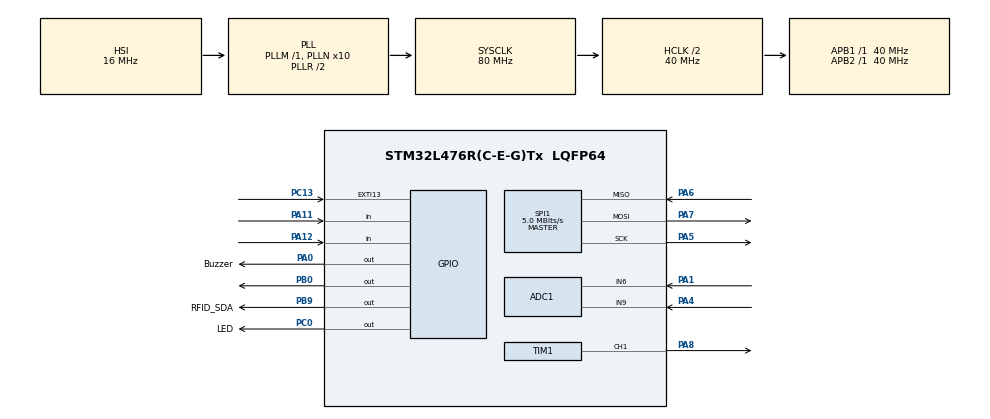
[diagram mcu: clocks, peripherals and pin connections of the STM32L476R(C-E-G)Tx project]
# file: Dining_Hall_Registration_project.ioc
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ADC1.Channel-0\#ChannelRegularConversion=ADC_CHANNEL_6
ADC1.Channel-1\#ChannelRegularConversion=ADC_CHANNEL_9
ADC1.NbrOfConversion=2
ADC1.NbrOfConversionFlag=1
ADC1.OffsetNumber-0\#ChannelRegularConversion=ADC_OFFSET_NONE
ADC1.OffsetNumber-1\#ChannelRegularConversion=ADC_OFFSET_NONE
ADC1.Rank-0\#ChannelRegularConversion=1
ADC1.Rank-1\#ChannelRegularConversion=2
ADC1.SamplingTime-0\#ChannelRegularConversion=ADC_SAMPLETIME_47CYCLES_5
ADC1.SamplingTime-1\#ChannelRegularConversion=ADC_SAMPLETIME_47CYCLES_5
ADC1.master=1
Dma.ADC1.0.Direction=DMA_PERIPH_TO_MEMORY
Dma.ADC1.0.Instance=DMA1_Channel1
Dma.ADC1.0.MemDataAlignment=DMA_MDATAALIGN_WORD
Dma.ADC1.0.MemInc=DMA_MINC_ENABLE
Dma.ADC1.0.Mode=DMA_CIRCULAR
Dma.ADC1.0.PeriphDataAlignment=DMA_PDATAALIGN_WORD
Dma.ADC1.0.PeriphInc=DMA_PINC_DISABLE
Dma.ADC1.0.Priority=DMA_PRIORITY_MEDIUM
Dma.Request0=ADC1
Mcu.Family=STM32L4
Mcu.Name=STM32L476R(C-E-G)Tx
Mcu.Package=LQFP64
NVIC.DMA1_Channel1_IRQn=true\:0\:0\:false\:false\:true\:false\:true\:true
NVIC.EXTI15_10_IRQn=true\:0\:0\:false\:false\:true\:true\:true\:true
NVIC.PriorityGroup=NVIC_PRIORITYGROUP_4
PA0.GPIO_Label=Buzzer
PA0.Signal=GPIO_Output
PA1.Signal=ADCx_IN6
PA11.Signal=GPIO_Input
PA12.Signal=GPIO_Input
PA13\ (JTMS-SWDIO).Mode=Serial_Wire
PA13\ (JTMS-SWDIO).Signal=SYS_JTMS-SWDIO
PA14\ (JTCK-SWCLK).Mode=Serial_Wire
PA14\ (JTCK-SWCLK).Signal=SYS_JTCK-SWCLK
PA4.Signal=ADCx_IN9
PA5.Mode=Full_Duplex_Master
PA5.Signal=SPI1_SCK
PA6.Mode=Full_Duplex_Master
PA6.Signal=SPI1_MISO
PA7.Mode=Full_Duplex_Master
PA7.Signal=SPI1_MOSI
PA8.Signal=S_TIM1_CH1
PB0.Signal=GPIO_Output
PB9.GPIO_Label=RFID_SDA
PB9.Signal=GPIO_Output
PC0.GPIO_Label=LED
PC0.Signal=GPIO_Output
PC13.GPIO_ModeDefaultEXTI=GPIO_MODE_IT_FALLING
PC13.Signal=GPXTI13
PH0-OSC_IN\ (PH0).Mode=HSE-External-Oscillator
PH0-OSC_IN\ (PH0).Signal=RCC_OSC_IN
PH1-OSC_OUT\ (PH1).Mode=HSE-External-Oscillator
PH1-OSC_OUT\ (PH1).Signal=RCC_OSC_OUT
ProjectManager.HeapSize=0x200
ProjectManager.StackSize=0x400
ProjectManager.TargetToolchain=STM32CubeIDE
RCC.ADCFreq_Value=64000000
RCC.AHBCLKDivider=RCC_SYSCLK_DIV2
RCC.AHBFreq_Value=40000000
RCC.APB1Freq_Value=40000000
RCC.APB1TimFreq_Value=40000000
RCC.APB2Freq_Value=40000000
RCC.APB2TimFreq_Value=40000000
RCC.CortexFreq_Value=40000000
RCC.HCLKFreq_Value=40000000
RCC.HSE_VALUE=8000000
RCC.HSI_VALUE=16000000
RCC.LSE_VALUE=32768
RCC.MSI_VALUE=4000000
RCC.PLLN=10
RCC.PLLSourceVirtual=RCC_PLLSOURCE_HSI
RCC.PREFETCH_ENABLE=1
RCC.SYSCLKFreq_VALUE=80000000
RCC.SYSCLKSource=RCC_SYSCLKSOURCE_PLLCLK
RCC.USBFreq_Value=64000000
RCC.VCOOutputFreq_Value=160000000
SH.ADCx_IN6.0=ADC1_IN6,IN6-Single-Ended
SH.ADCx_IN9.0=ADC1_IN9,IN9-Single-Ended
SH.S_TIM1_CH1.0=TIM1_CH1,PWM Generation1 CH1
SPI1.BaudRatePrescaler=SPI_BAUDRATEPRESCALER_8
SPI1.CalculateBaudRate=5.0 MBits/s
SPI1.Direction=SPI_DIRECTION_2LINES
SPI1.Mode=SPI_MODE_MASTER
SPI1.VirtualType=VM_MASTER
TIM1.Channel-PWM\ Generation1\ CH1=TIM_CHANNEL_1
TIM1.Period=999
TIM1.Prescaler=400
VP_TIM1_VS_ClockSourceINT.Mode=Internal
board=NUCLEO-L476RG

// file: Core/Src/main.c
/* USER CODE BEGIN Header */
/**
  ******************************************************************************
  * @file           : main.c
  * @brief          : Main program body
  ******************************************************************************
  * @attention
  *
  * Copyright (c) 2023 STMicroelectronics.
  * All rights reserved.
  *
  * This software is licensed under terms that can be found in the LICENSE file
  * in the root directory of this software component.
  * If no LICENSE file comes with this software, it is provided AS-IS.
  *
  ******************************************************************************
  */
/* USER CODE END Header */
#include "main.h"
#include "stdio.h"
#include "stm32f1_rc522.h"
#include "string.h"

ADC_HandleTypeDef hadc1;
DMA_HandleTypeDef hdma_adc1;
SPI_HandleTypeDef hspi1;
TIM_HandleTypeDef htim1;

/* USER CODE BEGIN PV */
// RFID Variables
uint8_t status;
uint8_t str[16];
uint8_t serNum[5];
uint8_t  KEY[] = {0xFF,0xFF,0xFF,0xFF,0xFF,0xFF};
uint8_t  KEY2[]={1,2,3,4,5,6};
uint8_t test;
uint8_t W[]="zagros-elec";
uint8_t R[16];

// Potentiometer Variables
uint32_t data[2];
uint32_t adcbuffer[2];

// Interrupt variable
uint8_t mode = 0;

/* USER CODE END PV */

void SystemClock_Config(void);
static void MX_GPIO_Init(void);
static void MX_DMA_Init(void);
static void MX_ADC1_Init(void);
static void MX_SPI1_Init(void);
static void MX_TIM1_Init(void);
/* USER CODE BEGIN PFP */

// Activating interrupt function to perform change between 2 modes
void HAL_GPIO_EXTI_Callback(uint16_t GPIO_Pin)
{
	mode = mode + 1;
	if(mode>1)
	{
		mode = 0;
	}
}

void HAL_ADC_ConvCpltCallback(ADC_HandleTypeDef* hadc)
{
	if (hadc->Instance==ADC1)
	{
		data[0] = adcbuffer[0];
		data[1] = adcbuffer[1];
	}
}
/* USER CODE END PFP */

int main(void)
{

  /* MCU Configuration--------------------------------------------------------*/

  /* Reset of all peripherals, Initializes the Flash interface and the Systick. */
  HAL_Init();

  /* Configure the system clock */
  SystemClock_Config();

  /* Initialize all configured peripherals */
  MX_GPIO_Init();
  MX_DMA_Init();
  MX_ADC1_Init();
  MX_SPI1_Init();
  MX_TIM1_Init();
  /* USER CODE BEGIN 2 */
  HAL_TIM_PWM_Start(&htim1, TIM_CHANNEL_1); //Activating PWM channel for Servo motor (TIM1 Channel 1)

  /* USER CODE END 2 */

  /* Infinite loop */
  while (1)
  {
	  // Mode1 activates RFID tag and reading RFID if ID is that of ours servo motor is activates, otherwise the buzzer starts to work like an alarm //
	  if (mode == 0)
	  	  {
	  		  status = MFRC522_Request(PICC_REQIDL, str);	//MFRC522_Request(0x26, str)
	  		  status = MFRC522_Anticoll(str);//Take a collision, look up 5 bytes
	  		  memcpy(serNum, str, 5);//function for c language:(para1:that place save data,para2:the the source of data,para3:size)

	  		  if (status == MI_OK)
	  		  {

	  		  		//*******************************Read and write on block tag*************************//

	  		     MFRC522_SelectTag(str);
	  		     test = MFRC522_Auth(PICC_AUTHENT1A,24,KEY,serNum);
	  		     if(HAL_GPIO_ReadPin(GPIOA,GPIO_PIN_11)==0)
	  		     {
	  		        status = MFRC522_Write((uint8_t)24 , W);

	  		     }
	  		     if(HAL_GPIO_ReadPin(GPIOA,GPIO_PIN_12)==0)
	  		     {
	  		  		 status = MFRC522_Read( 24, R);
	  		     }

	  		     // In this section if card number is that of ours, the servo motor is activated, otherwise buzzer alarm is activated //
	  		     // str keeps the numerical details of ID card
	  		     // Numbers like 38, 32, 108, 166, 13 is that of my ID
	  		     if((str[0]==38) || (str[1]==32) || (str[2]==108) || (str[3]==166) || (str[3]==13) )
	  		     {
	  		    	 htim1.Instance->CCR1 = 25;  // duty cycle is .5 ms
	  		    	 HAL_Delay(2000);
	  		    	 htim1.Instance->CCR1 = 75;  // duty cycle is 1.5 ms
	  		    	 HAL_Delay(2000);
	  		    	 htim1.Instance->CCR1 = 125;  // duty cycle is 2.5 ms
	  		    	 HAL_Delay(2000);
	  		    	 HAL_Delay(1000);
	  		     }
	  		     else
	  		     {
	  		    	 int i;
	  		    	 for (i = 1; i < 30; ++i)
	  		    	 {
	  		    		 HAL_GPIO_WritePin(GPIOA,GPIO_PIN_0, 0);
	  		    		 HAL_Delay(1000);
	  		    		 HAL_GPIO_WritePin(GPIOA,GPIO_PIN_0, 1);
	  		    		 HAL_Delay(1000);
	  		    	 }
	  		     }

	  		  }
	  		} // mode 1 ends here
	  // In case 2 pushing reset button once we change the sound delays of buzzer with using potentiometers
	  // In this condition we use 2 potentiometers which are connected with DMA channels
	  // To convert analog signal to digital we use ADC module in STM32-Nucleo board
	  if (mode == 1)
	  {
		  HAL_ADC_Start_DMA(&hadc1, adcbuffer, 2); // DMA is activated which collects two data from two channels to adcbuffer array
		  if (data[0] > 0)
		  {
		  	  HAL_GPIO_WritePin(GPIOA, GPIO_PIN_0, 1); // Buzzer is activated
		  	  HAL_Delay(data[0]); // delay time is same with the value given by first potentiometer
		  	  HAL_GPIO_WritePin(GPIOA, GPIO_PIN_0, 0); // Buzzer is deactivated
		  	  HAL_Delay(data[0]);
		  }
		  if (data[1] > 0)
		  {
			  HAL_GPIO_WritePin(GPIOC, GPIO_PIN_0, 1); // LED is activated
			  HAL_Delay(data[1]); // delay time is same with the value given by second potentiometer
			  HAL_GPIO_WritePin(GPIOC, GPIO_PIN_0, 0); // LED is deactivated
			  HAL_Delay(data[1]);
		  }
	  }

  }
}

void SystemClock_Config(void)
{
  RCC_OscInitTypeDef RCC_OscInitStruct = {0};
  RCC_ClkInitTypeDef RCC_ClkInitStruct = {0};

  /** Configure the main internal regulator output voltage
  */
  if (HAL_PWREx_ControlVoltageScaling(PWR_REGULATOR_VOLTAGE_SCALE1) != HAL_OK)
  {
    Error_Handler();
  }

  /** Initializes the RCC Oscillators according to the specified parameters
  * in the RCC_OscInitTypeDef structure.
  */
  RCC_OscInitStruct.OscillatorType = RCC_OSCILLATORTYPE_HSI;
  RCC_OscInitStruct.HSIState = RCC_HSI_ON;
  RCC_OscInitStruct.HSICalibrationValue = RCC_HSICALIBRATION_DEFAULT;
  RCC_OscInitStruct.PLL.PLLState = RCC_PLL_ON;
  RCC_OscInitStruct.PLL.PLLSource = RCC_PLLSOURCE_HSI;
  RCC_OscInitStruct.PLL.PLLM = 1;
  RCC_OscInitStruct.PLL.PLLN = 10;
  RCC_OscInitStruct.PLL.PLLP = RCC_PLLP_DIV7;
  RCC_OscInitStruct.PLL.PLLQ = RCC_PLLQ_DIV2;
  RCC_OscInitStruct.PLL.PLLR = RCC_PLLR_DIV2;
  if (HAL_RCC_OscConfig(&RCC_OscInitStruct) != HAL_OK)
  {
    Error_Handler();
  }

  /** Initializes the CPU, AHB and APB buses clocks
  */
  RCC_ClkInitStruct.ClockType = RCC_CLOCKTYPE_HCLK|RCC_CLOCKTYPE_SYSCLK
                              |RCC_CLOCKTYPE_PCLK1|RCC_CLOCKTYPE_PCLK2;
  RCC_ClkInitStruct.SYSCLKSource = RCC_SYSCLKSOURCE_PLLCLK;
  RCC_ClkInitStruct.AHBCLKDivider = RCC_SYSCLK_DIV2;
  RCC_ClkInitStruct.APB1CLKDivider = RCC_HCLK_DIV1;
  RCC_ClkInitStruct.APB2CLKDivider = RCC_HCLK_DIV1;

  if (HAL_RCC_ClockConfig(&RCC_ClkInitStruct, FLASH_LATENCY_2) != HAL_OK)
  {
    Error_Handler();
  }
}

static void MX_ADC1_Init(void)
{

  ADC_MultiModeTypeDef multimode = {0};
  ADC_ChannelConfTypeDef sConfig = {0};

  /** Common config
  */
  hadc1.Instance = ADC1;
  hadc1.Init.ClockPrescaler = ADC_CLOCK_ASYNC_DIV1;
  hadc1.Init.Resolution = ADC_RESOLUTION_12B;
  hadc1.Init.DataAlign = ADC_DATAALIGN_RIGHT;
  hadc1.Init.ScanConvMode = ADC_SCAN_ENABLE;
  hadc1.Init.EOCSelection = ADC_EOC_SINGLE_CONV;
  hadc1.Init.LowPowerAutoWait = DISABLE;
  hadc1.Init.ContinuousConvMode = DISABLE;
  hadc1.Init.NbrOfConversion = 2;
  hadc1.Init.DiscontinuousConvMode = DISABLE;
  hadc1.Init.ExternalTrigConv = ADC_SOFTWARE_START;
  hadc1.Init.ExternalTrigConvEdge = ADC_EXTERNALTRIGCONVEDGE_NONE;
  hadc1.Init.DMAContinuousRequests = DISABLE;
  hadc1.Init.Overrun = ADC_OVR_DATA_PRESERVED;
  hadc1.Init.OversamplingMode = DISABLE;
  if (HAL_ADC_Init(&hadc1) != HAL_OK)
  {
    Error_Handler();
  }

  /** Configure the ADC multi-mode
  */
  multimode.Mode = ADC_MODE_INDEPENDENT;
  if (HAL_ADCEx_MultiModeConfigChannel(&hadc1, &multimode) != HAL_OK)
  {
    Error_Handler();
  }

  /** Configure Regular Channel
  */
  sConfig.Channel = ADC_CHANNEL_6;
  sConfig.Rank = ADC_REGULAR_RANK_1;
  sConfig.SamplingTime = ADC_SAMPLETIME_47CYCLES_5;
  sConfig.SingleDiff = ADC_SINGLE_ENDED;
  sConfig.OffsetNumber = ADC_OFFSET_NONE;
  sConfig.Offset = 0;
  if (HAL_ADC_ConfigChannel(&hadc1, &sConfig) != HAL_OK)
  {
    Error_Handler();
  }

  /** Configure Regular Channel
  */
  sConfig.Channel = ADC_CHANNEL_9;
  sConfig.Rank = ADC_REGULAR_RANK_2;
  if (HAL_ADC_ConfigChannel(&hadc1, &sConfig) != HAL_OK)
  {
    Error_Handler();
  }

}

static void MX_SPI1_Init(void)
{

  /* SPI1 parameter configuration*/
  hspi1.Instance = SPI1;
  hspi1.Init.Mode = SPI_MODE_MASTER;
  hspi1.Init.Direction = SPI_DIRECTION_2LINES;
  hspi1.Init.DataSize = SPI_DATASIZE_4BIT;
  hspi1.Init.CLKPolarity = SPI_POLARITY_LOW;
  hspi1.Init.CLKPhase = SPI_PHASE_1EDGE;
  hspi1.Init.NSS = SPI_NSS_SOFT;
  hspi1.Init.BaudRatePrescaler = SPI_BAUDRATEPRESCALER_8;
  hspi1.Init.FirstBit = SPI_FIRSTBIT_MSB;
  hspi1.Init.TIMode = SPI_TIMODE_DISABLE;
  hspi1.Init.CRCCalculation = SPI_CRCCALCULATION_DISABLE;
  hspi1.Init.CRCPolynomial = 7;
  hspi1.Init.CRCLength = SPI_CRC_LENGTH_DATASIZE;
  hspi1.Init.NSSPMode = SPI_NSS_PULSE_ENABLE;
  if (HAL_SPI_Init(&hspi1) != HAL_OK)
  {
    Error_Handler();
  }

}

static void MX_TIM1_Init(void)
{

  TIM_ClockConfigTypeDef sClockSourceConfig = {0};
  TIM_MasterConfigTypeDef sMasterConfig = {0};
  TIM_OC_InitTypeDef sConfigOC = {0};
  TIM_BreakDeadTimeConfigTypeDef sBreakDeadTimeConfig = {0};

  htim1.Instance = TIM1;
  htim1.Init.Prescaler = 400;
  htim1.Init.CounterMode = TIM_COUNTERMODE_UP;
  htim1.Init.Period = 999;
  htim1.Init.ClockDivision = TIM_CLOCKDIVISION_DIV1;
  htim1.Init.RepetitionCounter = 0;
  htim1.Init.AutoReloadPreload = TIM_AUTORELOAD_PRELOAD_DISABLE;
  if (HAL_TIM_Base_Init(&htim1) != HAL_OK)
  {
    Error_Handler();
  }
  sClockSourceConfig.ClockSource = TIM_CLOCKSOURCE_INTERNAL;
  if (HAL_TIM_ConfigClockSource(&htim1, &sClockSourceConfig) != HAL_OK)
  {
    Error_Handler();
  }
  if (HAL_TIM_PWM_Init(&htim1) != HAL_OK)
  {
    Error_Handler();
  }
  sMasterConfig.MasterOutputTrigger = TIM_TRGO_RESET;
  sMasterConfig.MasterOutputTrigger2 = TIM_TRGO2_RESET;
  sMasterConfig.MasterSlaveMode = TIM_MASTERSLAVEMODE_DISABLE;
  if (HAL_TIMEx_MasterConfigSynchronization(&htim1, &sMasterConfig) != HAL_OK)
  {
    Error_Handler();
  }
  sConfigOC.OCMode = TIM_OCMODE_PWM1;
  sConfigOC.Pulse = 0;
  sConfigOC.OCPolarity = TIM_OCPOLARITY_HIGH;
  sConfigOC.OCNPolarity = TIM_OCNPOLARITY_HIGH;
  sConfigOC.OCFastMode = TIM_OCFAST_DISABLE;
  sConfigOC.OCIdleState = TIM_OCIDLESTATE_RESET;
  sConfigOC.OCNIdleState = TIM_OCNIDLESTATE_RESET;
  if (HAL_TIM_PWM_ConfigChannel(&htim1, &sConfigOC, TIM_CHANNEL_1) != HAL_OK)
  {
    Error_Handler();
  }
  sBreakDeadTimeConfig.OffStateRunMode = TIM_OSSR_DISABLE;
  sBreakDeadTimeConfig.OffStateIDLEMode = TIM_OSSI_DISABLE;
  sBreakDeadTimeConfig.LockLevel = TIM_LOCKLEVEL_OFF;
  sBreakDeadTimeConfig.DeadTime = 0;
  sBreakDeadTimeConfig.BreakState = TIM_BREAK_DISABLE;
  sBreakDeadTimeConfig.BreakPolarity = TIM_BREAKPOLARITY_HIGH;
  sBreakDeadTimeConfig.BreakFilter = 0;
  sBreakDeadTimeConfig.Break2State = TIM_BREAK2_DISABLE;
  sBreakDeadTimeConfig.Break2Polarity = TIM_BREAK2POLARITY_HIGH;
  sBreakDeadTimeConfig.Break2Filter = 0;
  sBreakDeadTimeConfig.AutomaticOutput = TIM_AUTOMATICOUTPUT_DISABLE;
  if (HAL_TIMEx_ConfigBreakDeadTime(&htim1, &sBreakDeadTimeConfig) != HAL_OK)
  {
    Error_Handler();
  }
  HAL_TIM_MspPostInit(&htim1);

}

static void MX_DMA_Init(void)
{

  /* DMA controller clock enable */
  __HAL_RCC_DMA1_CLK_ENABLE();

  /* DMA interrupt init */
  /* DMA1_Channel1_IRQn interrupt configuration */
  HAL_NVIC_SetPriority(DMA1_Channel1_IRQn, 0, 0);
  HAL_NVIC_EnableIRQ(DMA1_Channel1_IRQn);

}

static void MX_GPIO_Init(void)
{
  GPIO_InitTypeDef GPIO_InitStruct = {0};

  /* GPIO Ports Clock Enable */
  __HAL_RCC_GPIOC_CLK_ENABLE();
  __HAL_RCC_GPIOH_CLK_ENABLE();
  __HAL_RCC_GPIOA_CLK_ENABLE();
  __HAL_RCC_GPIOB_CLK_ENABLE();

  /*Configure GPIO pin Output Level */
  HAL_GPIO_WritePin(Buzzer_GPIO_Port, Buzzer_Pin, GPIO_PIN_RESET);

  /*Configure GPIO pin Output Level */
  HAL_GPIO_WritePin(RFID_SDA_GPIO_Port, RFID_SDA_Pin, GPIO_PIN_RESET);

  /*Configure GPIO pin : PC13 */
  GPIO_InitStruct.Pin = GPIO_PIN_13;
  GPIO_InitStruct.Mode = GPIO_MODE_IT_FALLING;
  GPIO_InitStruct.Pull = GPIO_NOPULL;
  HAL_GPIO_Init(GPIOC, &GPIO_InitStruct);

  /*Configure GPIO pin : Buzzer_Pin */
  GPIO_InitStruct.Pin = Buzzer_Pin;
  GPIO_InitStruct.Mode = GPIO_MODE_OUTPUT_PP;
  GPIO_InitStruct.Pull = GPIO_NOPULL;
  GPIO_InitStruct.Speed = GPIO_SPEED_FREQ_LOW;
  HAL_GPIO_Init(Buzzer_GPIO_Port, &GPIO_InitStruct);

  /*Configure GPIO pin : Buzzer_Pin */
    GPIO_InitStruct.Pin = GPIO_PIN_0;
    GPIO_InitStruct.Mode = GPIO_MODE_OUTPUT_PP;
    GPIO_InitStruct.Pull = GPIO_NOPULL;
    GPIO_InitStruct.Speed = GPIO_SPEED_FREQ_LOW;
    HAL_GPIO_Init(GPIOB, &GPIO_InitStruct);

  /*Configure GPIO pin : RFID_SDA_Pin */
  GPIO_InitStruct.Pin = RFID_SDA_Pin;
  GPIO_InitStruct.Mode = GPIO_MODE_OUTPUT_PP;
  GPIO_InitStruct.Pull = GPIO_NOPULL;
  GPIO_InitStruct.Speed = GPIO_SPEED_FREQ_LOW;
  HAL_GPIO_Init(GPIOC, &GPIO_InitStruct);

  /*Configure GPIO pin : Buzzer_Pin */
    GPIO_InitStruct.Pin = GPIO_PIN_0;
    GPIO_InitStruct.Mode = GPIO_MODE_OUTPUT_PP;
    GPIO_InitStruct.Pull = GPIO_NOPULL;
    GPIO_InitStruct.Speed = GPIO_SPEED_FREQ_LOW;
    HAL_GPIO_Init(LED_GPIO_Port, &GPIO_InitStruct);

  /* EXTI interrupt init*/
  HAL_NVIC_SetPriority(EXTI15_10_IRQn, 0, 0);
  HAL_NVIC_EnableIRQ(EXTI15_10_IRQn);

}

void Error_Handler(void)
{
  __disable_irq();
  while (1)
  {
  }
}
